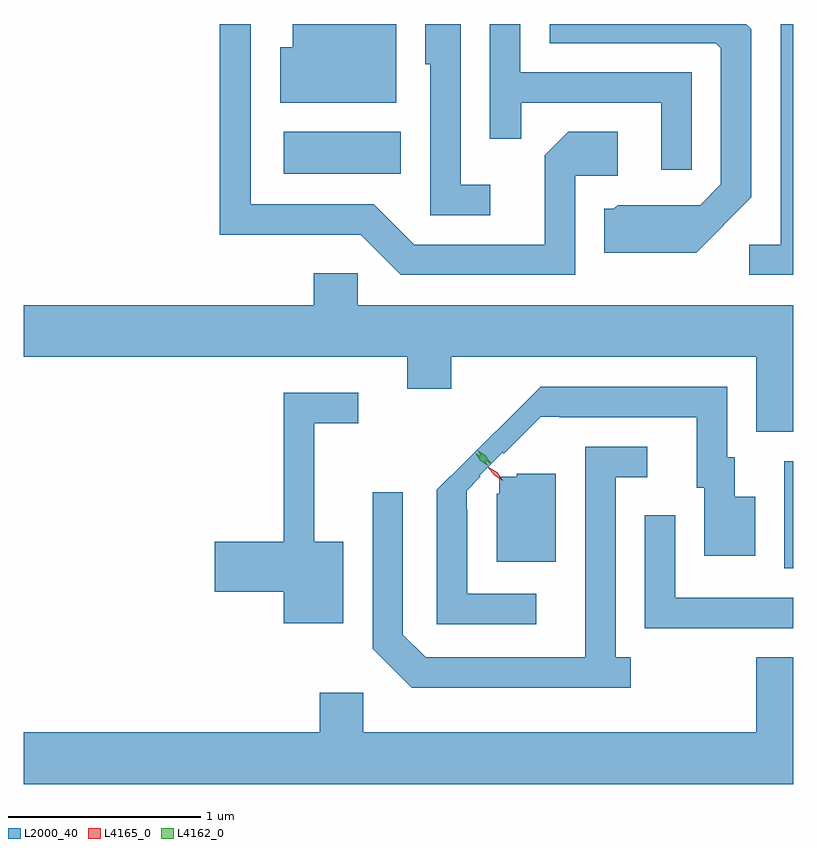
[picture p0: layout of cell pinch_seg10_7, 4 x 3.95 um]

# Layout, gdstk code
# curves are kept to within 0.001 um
import gdstk
lib = gdstk.Library(unit=1e-6, precision=1e-09)
def R(c, l, rs):  # rectangles x0, y0, x1, y1
    for r in rs: c.add(gdstk.rectangle(r[:2], r[2:], *l))
def P(c, l, *ps):  # polygons
    for p in ps: c.add(gdstk.Polygon(p, *l))
L2000_40 = (2000, 40)
L4162_0 = (4162, 0)
L4165_0 = (4165, 0)

pinch_seg10_7 = lib.new_cell('pinch_seg10_7')
R(pinch_seg10_7, L2000_40, [(849.106,2190.516,849.153,2191.074), (846.506,2192.566,847.114,2192.784)])
P(pinch_seg10_7, L2000_40, [(847.578,2192.509),(847.424,2192.509),(847.424,2193.345),(847.241,2193.345),(847.241,2193.136),(847.266,2193.136),(847.266,2192.351),(847.578,2192.351)],
  [(848.934,2192.444),(848.934,2193.319),(848.908,2193.345),(847.886,2193.345),(847.886,2193.246),(848.749,2193.246),(848.776,2193.219),(848.776,2192.512),(848.669,2192.404),(848.239,2192.404),(848.219,2192.384),(848.171,2192.384),(848.171,2192.156),(848.647,2192.156)],
  [(848.019,2192.556),(848.239,2192.556),(848.239,2192.784),(847.984,2192.784),(847.861,2192.662),(847.861,2192.199),(847.182,2192.199),(846.972,2192.409),(846.334,2192.409),(846.334,2193.345),(846.171,2193.345),(846.171,2192.251),(846.904,2192.251),(847.114,2192.041),(848.019,2192.041)],
  [(849.153,2193.345),(849.086,2193.345),(849.086,2192.199),(848.923,2192.199),(848.923,2192.041),(849.153,2192.041)],
  [(848.624,2193.094),(847.734,2193.094),(847.734,2193.345),(847.576,2193.345),(847.576,2192.748),(847.739,2192.748),(847.739,2192.936),(848.466,2192.936),(848.466,2192.588),(848.624,2192.588)],
  [(847.089,2193.345),(846.551,2193.345),(846.551,2193.224),(846.486,2193.224),(846.486,2192.936),(847.089,2192.936)],
  [(849.153,2191.884),(846.889,2191.884),(846.889,2192.049),(846.661,2192.049),(846.661,2191.884),(845.153,2191.884),(845.153,2191.616),(847.146,2191.616),(847.146,2191.451),(847.374,2191.451),(847.374,2191.616),(848.961,2191.616),(848.961,2191.226),(849.153,2191.226)],
  [(847.818,2190.384),(847.459,2190.384),(847.459,2190.824),(847.455,2190.824),(847.455,2190.921),(847.527,2190.993),(847.522,2190.999),(847.642,2191.12),(847.648,2191.113),(847.841,2191.304),(847.936,2191.304),(847.936,2191.301),(848.651,2191.301),(848.651,2190.936),(848.691,2190.936),(848.691,2190.581),(848.954,2190.581),(848.954,2190.889),(848.849,2190.889),(848.849,2191.094),(848.809,2191.094),(848.809,2191.459),(847.839,2191.459),(847.373,2190.994),(847.371,2190.995),(847.301,2190.925),(847.301,2190.226),(847.818,2190.226)],
  [(846.814,2190.654),(846.664,2190.654),(846.664,2191.271),(846.893,2191.271),(846.893,2191.429),(846.506,2191.429),(846.506,2190.654),(846.146,2190.654),(846.146,2190.396),(846.506,2190.396),(846.506,2190.231),(846.814,2190.231)],
  [(848.308,2190.054),(848.229,2190.054),(848.229,2190.991),(848.393,2190.991),(848.393,2191.149),(848.071,2191.149),(848.071,2190.054),(847.242,2190.054),(847.124,2190.172),(847.124,2190.913),(846.966,2190.913),(846.966,2190.099),(847.169,2189.896),(848.308,2189.896)],
  [(847.919,2191.009),(847.715,2191.009),(847.715,2190.993),(847.625,2190.993),(847.625,2190.905),(847.611,2190.905),(847.611,2190.551),(847.919,2190.551)],
  [(849.153,2190.364),(848.539,2190.364),(848.539,2190.793),(848.381,2190.793),(848.381,2190.206),(849.153,2190.206)],
  [(849.153,2190.054),(848.961,2190.054),(848.961,2189.664),(846.919,2189.664),(846.919,2189.869),(846.691,2189.869),(846.691,2189.664),(845.153,2189.664),(845.153,2189.396),(849.153,2189.396)])
P(pinch_seg10_7, L4162_0, [(847.581,2191.059),(847.54,2191.087),(847.512,2191.129),(847.512,2191.13),(847.512,2191.13),(847.554,2191.102),(847.582,2191.059),(847.582,2191.059)],
  [(847.563,2191.052),(847.526,2191.076),(847.502,2191.114),(847.502,2191.114),(847.503,2191.114),(847.54,2191.09),(847.564,2191.053),(847.564,2191.052)])
P(pinch_seg10_7, L4165_0, [(847.643,2190.972),(847.598,2191),(847.566,2191.042),(847.566,2191.042),(847.567,2191.042),(847.612,2191.015),(847.644,2190.973),(847.644,2190.972)],
  [(847.641,2190.974),(847.599,2191),(847.57,2191.04),(847.57,2191.041),(847.571,2191.041),(847.613,2191.015),(847.642,2190.975),(847.642,2190.974)])

lib.write_gds('pinch_seg10_7.gds')
